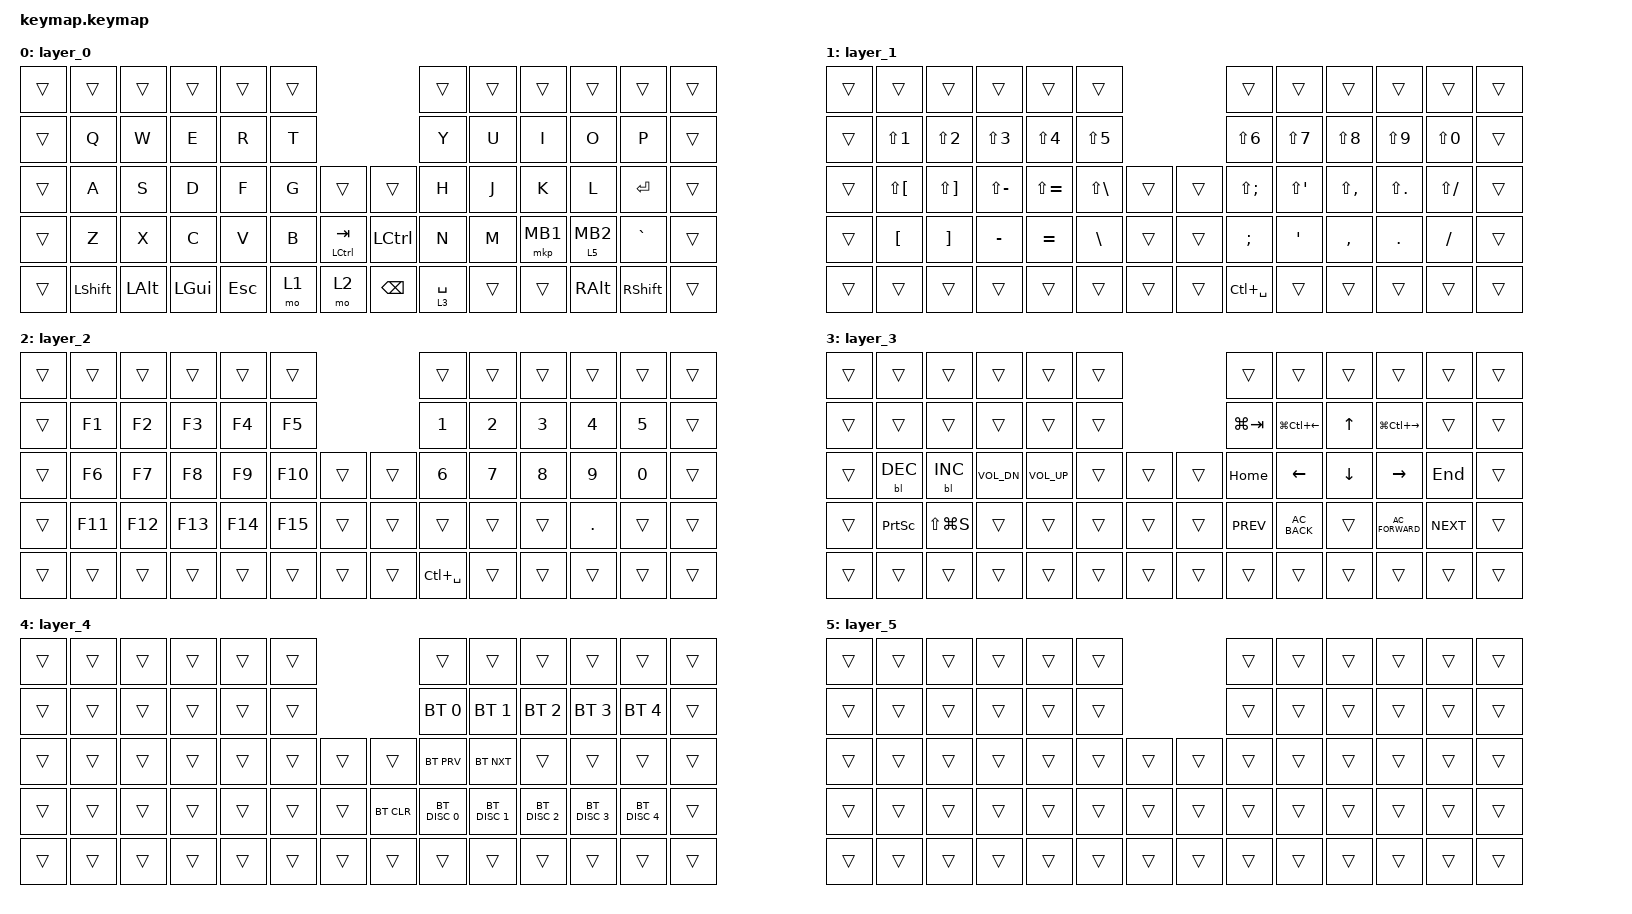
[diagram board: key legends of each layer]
#include <behaviors.dtsi>
#include <dt-bindings/zmk/backlight.h>
#include <dt-bindings/zmk/bt.h>
#include <dt-bindings/zmk/keys.h>
#include <dt-bindings/zmk/pointing.h>

/ {
    combos {
        compatible = "zmk,combos";

        bt_layer {
            bindings = <&mo 4>;
            key-positions = <58 57>;
        };
    };

    behaviors {
        click_scroll: click_scroll {
            compatible = "zmk,behavior-hold-tap";
            label = "CLICK_SCROLL";
            bindings = <&mo>, <&mkp>;

            #binding-cells = <2>;
            tapping-term-ms = <200>;
        };
    };

    keymap {
        compatible = "zmk,keymap";

        layer_0 {
            bindings = <
&trans  &trans          &trans        &trans        &trans      &trans                                          &trans       &trans  &trans    &trans               &trans           &trans
&trans  &kp Q           &kp W         &kp E         &kp R       &kp T                                           &kp Y        &kp U   &kp I     &kp O                &kp P            &trans
&trans  &kp A           &kp S         &kp D         &kp F       &kp G   &trans                &trans            &kp H        &kp J   &kp K     &kp L                &kp ENTER        &trans
&trans  &kp Z           &kp X         &kp C         &kp V       &kp B   &mt LEFT_CONTROL TAB  &kp LEFT_CONTROL  &kp N        &kp M   &mkp MB1  &click_scroll 5 MB2  &kp GRAVE        &trans
&trans  &kp LEFT_SHIFT  &kp LEFT_ALT  &kp LEFT_GUI  &kp ESCAPE  &mo 1   &mo 2                 &kp BACKSPACE     &lt 3 SPACE  &trans  &trans    &kp RIGHT_ALT        &kp RIGHT_SHIFT  &trans
            >;
        };

        layer_1 {
            bindings = <
&trans  &trans                &trans                 &trans            &trans            &trans                             &trans             &trans                &trans            &trans            &trans            &trans
&trans  &kp LS(NUMBER_1)      &kp LS(NUMBER_2)       &kp LS(NUMBER_3)  &kp LS(NUMBER_4)  &kp LS(NUMBER_5)                   &kp LS(NUMBER_6)   &kp LS(NUMBER_7)      &kp LS(NUMBER_8)  &kp LS(NUMBER_9)  &kp LS(NUMBER_0)  &trans
&trans  &kp LS(LEFT_BRACKET)  &kp LS(RIGHT_BRACKET)  &kp LS(MINUS)     &kp LS(EQUAL)     &kp LS(BACKSLASH)  &trans  &trans  &kp LS(SEMICOLON)  &kp LS(SINGLE_QUOTE)  &kp LS(COMMA)     &kp LS(PERIOD)    &kp LS(SLASH)     &trans
&trans  &kp LEFT_BRACKET      &kp RIGHT_BRACKET      &kp MINUS         &kp EQUAL         &kp BACKSLASH      &trans  &trans  &kp SEMICOLON      &kp SINGLE_QUOTE      &kp COMMA         &kp PERIOD        &kp SLASH         &trans
&trans  &trans                &trans                 &trans            &trans            &trans             &trans  &trans  &kp LC(SPACE)      &trans                &trans            &trans            &trans            &trans
            >;
        };

        layer_2 {
            bindings = <
&trans  &trans   &trans   &trans   &trans   &trans                   &trans         &trans  &trans  &trans      &trans  &trans
&trans  &kp F1   &kp F2   &kp F3   &kp F4   &kp F5                   &kp N1         &kp N2  &kp N3  &kp N4      &kp N5  &trans
&trans  &kp F6   &kp F7   &kp F8   &kp F9   &kp F10  &trans  &trans  &kp N6         &kp N7  &kp N8  &kp N9      &kp N0  &trans
&trans  &kp F11  &kp F12  &kp F13  &kp F14  &kp F15  &trans  &trans  &trans         &trans  &trans  &kp PERIOD  &trans  &trans
&trans  &trans   &trans   &trans   &trans   &trans   &trans  &trans  &kp LC(SPACE)  &trans  &trans  &trans      &trans  &trans
            >;
        };

        layer_3 {
            bindings = <
&trans  &trans           &trans         &trans        &trans        &trans                  &trans       &trans            &trans    &trans             &trans      &trans
&trans  &trans           &trans         &trans        &trans        &trans                  &kp LG(TAB)  &kp LG(LC(LEFT))  &kp UP    &kp LG(LC(RIGHT))  &trans      &trans
&trans  &bl BL_DEC       &bl BL_INC     &kp C_VOL_DN  &kp C_VOL_UP  &trans  &trans  &trans  &kp HOME     &kp LEFT          &kp DOWN  &kp RIGHT          &kp END     &trans
&trans  &kp PRINTSCREEN  &kp LS(LG(S))  &trans        &trans        &trans  &trans  &trans  &kp C_PREV   &kp C_AC_BACK     &trans    &kp C_AC_FORWARD   &kp C_NEXT  &trans
&trans  &trans           &trans         &trans        &trans        &trans  &trans  &trans  &trans       &trans            &trans    &trans             &trans      &trans
            >;
        };

        layer_4 {
            bindings = <
&trans  &trans  &trans  &trans  &trans  &trans                      &trans         &trans         &trans         &trans         &trans         &trans
&trans  &trans  &trans  &trans  &trans  &trans                      &bt BT_SEL 0   &bt BT_SEL 1   &bt BT_SEL 2   &bt BT_SEL 3   &bt BT_SEL 4   &trans
&trans  &trans  &trans  &trans  &trans  &trans  &trans  &trans      &bt BT_PRV     &bt BT_NXT     &trans         &trans         &trans         &trans
&trans  &trans  &trans  &trans  &trans  &trans  &trans  &bt BT_CLR  &bt BT_DISC 0  &bt BT_DISC 1  &bt BT_DISC 2  &bt BT_DISC 3  &bt BT_DISC 4  &trans
&trans  &trans  &trans  &trans  &trans  &trans  &trans  &trans      &trans         &trans         &trans         &trans         &trans         &trans
            >;
        };

        layer_5 {
            bindings = <
&trans  &trans  &trans  &trans  &trans  &trans                  &trans  &trans  &trans  &trans  &trans  &trans
&trans  &trans  &trans  &trans  &trans  &trans                  &trans  &trans  &trans  &trans  &trans  &trans
&trans  &trans  &trans  &trans  &trans  &trans  &trans  &trans  &trans  &trans  &trans  &trans  &trans  &trans
&trans  &trans  &trans  &trans  &trans  &trans  &trans  &trans  &trans  &trans  &trans  &trans  &trans  &trans
&trans  &trans  &trans  &trans  &trans  &trans  &trans  &trans  &trans  &trans  &trans  &trans  &trans  &trans
            >;
        };
    };
};
